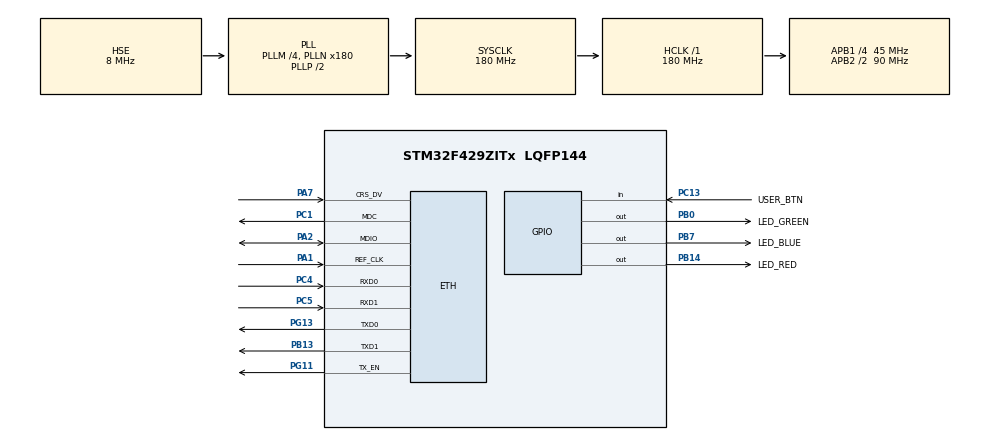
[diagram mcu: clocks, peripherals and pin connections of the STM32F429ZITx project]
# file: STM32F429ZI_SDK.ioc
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ETH.MediaInterface=HAL_ETH_RMII_MODE
ETH.PhyAddress=0
FREERTOS.HEAP_NUMBER=4
FREERTOS.Queues01=sockfd_queue,16,uint16_t,0,Dynamic,NULL,NULL
FREERTOS.Tasks01=defaultTask,0,2048,StartDefaultTask,Default,NULL,Dynamic,NULL,NULL
FREERTOS.configCHECK_FOR_STACK_OVERFLOW=2
FREERTOS.configENABLE_FPU=1
FREERTOS.configMINIMAL_STACK_SIZE=512
FREERTOS.configTOTAL_HEAP_SIZE=65536
FREERTOS.configUSE_NEWLIB_REENTRANT=1
FREERTOS.configUSE_STATS_FORMATTING_FUNCTIONS=1
FREERTOS.configUSE_TRACE_FACILITY=1
LWIP.BSP.number=1
LWIP.DEFAULT_THREAD_STACKSIZE=4096
LWIP.LWIP_DNS=1
LWIP.LWIP_NETIF_LINK_CALLBACK=1
LWIP.LWIP_SO_RCVBUF=1
LWIP.TCPIP_THREAD_STACKSIZE=4096
LWIP.Version=v2.1.2_Cube
LWIP0.BSP.STBoard=false
LWIP0.BSP.api=BSP_COMPONENT_DRIVER
LWIP0.BSP.component=LAN8742
LWIP0.BSP.instance=LAN8742
LWIP0.BSP.name=Driver_PHY
LWIP0.BSP.semaphore=S_LAN8742
LWIP0.BSP.solution=LAN8742
Mcu.Family=STM32F4
Mcu.Name=STM32F429ZITx
Mcu.Package=LQFP144
NVIC.ETH_IRQn=true\:5\:0\:false\:false\:true\:true\:false\:true\:true
NVIC.PriorityGroup=NVIC_PRIORITYGROUP_4
NVIC.TIM1_UP_TIM10_IRQn=true\:15\:0\:false\:false\:true\:false\:false\:true\:true
NVIC.TimeBase=TIM1_UP_TIM10_IRQn
NVIC.TimeBaseIP=TIM1
PA1.Mode=RMII
PA1.Signal=ETH_REF_CLK
PA13.Mode=Serial_Wire
PA13.Signal=SYS_JTMS-SWDIO
PA14.Mode=Serial_Wire
PA14.Signal=SYS_JTCK-SWCLK
PA2.Mode=RMII
PA2.Signal=ETH_MDIO
PA7.Mode=RMII
PA7.Signal=ETH_CRS_DV
PB0.GPIO_Label=LED_GREEN
PB0.Signal=GPIO_Output
PB13.Mode=RMII
PB13.Signal=ETH_TXD1
PB14.GPIO_Label=LED_RED
PB14.Signal=GPIO_Output
PB7.GPIO_Label=LED_BLUE
PB7.Signal=GPIO_Output
PC1.Mode=RMII
PC1.Signal=ETH_MDC
PC13.GPIO_Label=USER_BTN
PC13.Signal=GPIO_Input
PC14/OSC32_IN.Mode=LSE-External-Oscillator
PC14/OSC32_IN.Signal=RCC_OSC32_IN
PC15/OSC32_OUT.Mode=LSE-External-Oscillator
PC15/OSC32_OUT.Signal=RCC_OSC32_OUT
PC4.Mode=RMII
PC4.Signal=ETH_RXD0
PC5.Mode=RMII
PC5.Signal=ETH_RXD1
PG11.Mode=RMII
PG11.Signal=ETH_TX_EN
PG13.Mode=RMII
PG13.Signal=ETH_TXD0
PH0/OSC_IN.Mode=HSE-External-Clock-Source
PH0/OSC_IN.Signal=RCC_OSC_IN
PH1/OSC_OUT.Mode=HSE-External-Clock-Source
PH1/OSC_OUT.Signal=RCC_OSC_OUT
ProjectManager.HeapSize=0x200
ProjectManager.StackSize=0x400
ProjectManager.TargetToolchain=STM32CubeIDE
RCC.48MHZClocksFreq_Value=45000000
RCC.AHBFreq_Value=180000000
RCC.APB1CLKDivider=RCC_HCLK_DIV4
RCC.APB1Freq_Value=45000000
RCC.APB1TimFreq_Value=90000000
RCC.APB2CLKDivider=RCC_HCLK_DIV2
RCC.APB2Freq_Value=90000000
RCC.APB2TimFreq_Value=180000000
RCC.CortexFreq_Value=180000000
RCC.HCLKFreq_Value=180000000
RCC.HSE_VALUE=8000000
RCC.HSI_VALUE=16000000
RCC.PLLM=4
RCC.PLLMUL=RCC_PLL_MUL9
RCC.PLLN=180
RCC.PLLQ=8
RCC.PLLSourceVirtual=RCC_PLLSOURCE_HSE
RCC.PRESCALERUSB=RCC_USBCLKSOURCE_PLL_DIV1_5
RCC.SYSCLKFreq_VALUE=180000000
RCC.SYSCLKSource=RCC_SYSCLKSOURCE_PLLCLK
RCC.SYSCLKSourceVirtual=RCC_SYSCLKSOURCE_PLLCLK
RCC.USBFreq_Value=48000000
RCC.VCOOutputFreq_Value=360000000
VP_FREERTOS_VS_CMSIS_V1.Mode=CMSIS_V1
VP_LWIP_VS_Enabled.Mode=Enabled
VP_RNG_VS_RNG.Mode=RNG_Activate
VP_SYS_VS_tim1.Mode=TIM1
board=NUCLEO-F429ZI

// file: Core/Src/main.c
/* USER CODE BEGIN Header */
/**
  ******************************************************************************
  * @file           : main.c
  * @brief          : Main program body
  ******************************************************************************
  * @attention
  *
  * Copyright (c) 2023 STMicroelectronics.
  * All rights reserved.
  *
  * This software is licensed under terms that can be found in the LICENSE file
  * in the root directory of this software component.
  * If no LICENSE file comes with this software, it is provided AS-IS.
  *
  ******************************************************************************
  */
/* USER CODE END Header */
#include "main.h"
#include "cmsis_os.h"
#include "lwip.h"
#include "rng.h"
#include "gpio.h"

void SystemClock_Config(void);
void MX_FREERTOS_Init(void);

int main(void)
{

  /* MCU Configuration--------------------------------------------------------*/

  /* Reset of all peripherals, Initializes the Flash interface and the Systick. */
  HAL_Init();

  /* Configure the system clock */
  SystemClock_Config();

  /* Initialize all configured peripherals */
  MX_GPIO_Init();
  MX_RNG_Init();

  /* Call init function for freertos objects (in freertos.c) */
  MX_FREERTOS_Init();

  /* Start scheduler */
  osKernelStart();

  /* We should never get here as control is now taken by the scheduler */
  /* Infinite loop */
  while (1)
  {

  }
}

void SystemClock_Config(void)
{
  RCC_OscInitTypeDef RCC_OscInitStruct = {0};
  RCC_ClkInitTypeDef RCC_ClkInitStruct = {0};

  /** Configure the main internal regulator output voltage
  */
  __HAL_RCC_PWR_CLK_ENABLE();
  __HAL_PWR_VOLTAGESCALING_CONFIG(PWR_REGULATOR_VOLTAGE_SCALE1);

  /** Initializes the RCC Oscillators according to the specified parameters
  * in the RCC_OscInitTypeDef structure.
  */
  RCC_OscInitStruct.OscillatorType = RCC_OSCILLATORTYPE_HSE;
  RCC_OscInitStruct.HSEState = RCC_HSE_BYPASS;
  RCC_OscInitStruct.PLL.PLLState = RCC_PLL_ON;
  RCC_OscInitStruct.PLL.PLLSource = RCC_PLLSOURCE_HSE;
  RCC_OscInitStruct.PLL.PLLM = 4;
  RCC_OscInitStruct.PLL.PLLN = 180;
  RCC_OscInitStruct.PLL.PLLP = RCC_PLLP_DIV2;
  RCC_OscInitStruct.PLL.PLLQ = 8;
  if (HAL_RCC_OscConfig(&RCC_OscInitStruct) != HAL_OK)
  {
    Error_Handler();
  }

  /** Activate the Over-Drive mode
  */
  if (HAL_PWREx_EnableOverDrive() != HAL_OK)
  {
    Error_Handler();
  }

  /** Initializes the CPU, AHB and APB buses clocks
  */
  RCC_ClkInitStruct.ClockType = RCC_CLOCKTYPE_HCLK|RCC_CLOCKTYPE_SYSCLK
                              |RCC_CLOCKTYPE_PCLK1|RCC_CLOCKTYPE_PCLK2;
  RCC_ClkInitStruct.SYSCLKSource = RCC_SYSCLKSOURCE_PLLCLK;
  RCC_ClkInitStruct.AHBCLKDivider = RCC_SYSCLK_DIV1;
  RCC_ClkInitStruct.APB1CLKDivider = RCC_HCLK_DIV4;
  RCC_ClkInitStruct.APB2CLKDivider = RCC_HCLK_DIV2;

  if (HAL_RCC_ClockConfig(&RCC_ClkInitStruct, FLASH_LATENCY_5) != HAL_OK)
  {
    Error_Handler();
  }
}

void HAL_TIM_PeriodElapsedCallback(TIM_HandleTypeDef *htim)
{
  if (htim->Instance == TIM1) {
    HAL_IncTick();
  }
}

void Error_Handler(void)
{
  __disable_irq();
  while (1)
  {
  }
}

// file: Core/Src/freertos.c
/* USER CODE BEGIN Header */
/**
  ******************************************************************************
  * File Name          : freertos.c
  * Description        : Code for freertos applications
  ******************************************************************************
  * @attention
  *
  * Copyright (c) 2023 STMicroelectronics.
  * All rights reserved.
  *
  * This software is licensed under terms that can be found in the LICENSE file
  * in the root directory of this software component.
  * If no LICENSE file comes with this software, it is provided AS-IS.
  *
  ******************************************************************************
  */
/* USER CODE END Header */

#include "FreeRTOS.h"
#include "task.h"
#include "main.h"
#include "cmsis_os.h"

/* USER CODE BEGIN Includes */
#include "dbg.h"
#include "lwip.h"
#include "conf_network.h"
#include "socket_client.h"
/* USER CODE END Includes */

/* USER CODE BEGIN Variables */
osThreadId lwipWriteTaskHandle;
osThreadId lwipReadTaskHandle;
/* USER CODE END Variables */
osThreadId defaultTaskHandle;
osMessageQId sockfd_queueHandle;

void StartDefaultTask(void const * argument);

extern void MX_LWIP_Init(void);
void MX_FREERTOS_Init(void); /* (MISRA C 2004 rule 8.1) */

/* GetIdleTaskMemory prototype (linked to static allocation support) */
void vApplicationGetIdleTaskMemory( StaticTask_t **ppxIdleTaskTCBBuffer, StackType_t **ppxIdleTaskStackBuffer, uint32_t *pulIdleTaskStackSize );

/* Hook prototypes */
void vApplicationStackOverflowHook(xTaskHandle xTask, signed char *pcTaskName);

/* USER CODE BEGIN 4 */
__weak void vApplicationStackOverflowHook(xTaskHandle xTask, signed char *pcTaskName)
{
   /* Run time stack overflow checking is performed if
   configCHECK_FOR_STACK_OVERFLOW is defined to 1 or 2. This hook function is
   called if a stack overflow is detected. */
}
/* USER CODE END 4 */

/* USER CODE BEGIN GET_IDLE_TASK_MEMORY */
static StaticTask_t xIdleTaskTCBBuffer;
static StackType_t xIdleStack[configMINIMAL_STACK_SIZE];

void vApplicationGetIdleTaskMemory( StaticTask_t **ppxIdleTaskTCBBuffer, StackType_t **ppxIdleTaskStackBuffer, uint32_t *pulIdleTaskStackSize )
{
  *ppxIdleTaskTCBBuffer = &xIdleTaskTCBBuffer;
  *ppxIdleTaskStackBuffer = &xIdleStack[0];
  *pulIdleTaskStackSize = configMINIMAL_STACK_SIZE;
  /* place for user code */
}
/* USER CODE END GET_IDLE_TASK_MEMORY */

void MX_FREERTOS_Init(void) {

  /* Create the queue(s) */
  /* definition and creation of sockfd_queue */
  osMessageQDef(sockfd_queue, 1, uint32_t);
  sockfd_queueHandle = osMessageCreate(osMessageQ(sockfd_queue), NULL);

  /* Create the thread(s) */
  /* definition and creation of defaultTask */
  osThreadDef(defaultTask, StartDefaultTask, osPriorityNormal, 0, 2048);
  defaultTaskHandle = osThreadCreate(osThread(defaultTask), NULL);

}

void StartDefaultTask(void const * argument)
{
  /* init code for LWIP */
  MX_LWIP_Init();
  /* USER CODE BEGIN StartDefaultTask */
  while(1)
  {
	  //Waiting for valid ip address
	  if(gnetif.ip_addr.addr == 0 || gnetif.netmask.addr == 0 || gnetif.gw.addr == 0){
		  osDelay(200);
		  continue;
	  }else{
		  DB_PRINTF("\r\nDHCP/Static IP: %s\r\n", ip4addr_ntoa(netif_ip4_addr(&gnetif)));
		  break;
	  }
  }

#ifdef USE_SOCKET
  //Create the task to write to server
  osThreadDef(lwipWriteTask, WriteLWIPClientTask, osPriorityNormal, 0, 2048);
  lwipWriteTaskHandle = osThreadCreate(osThread(lwipWriteTask), NULL);

  //Create the task to read from server
  osThreadDef(lwipReadTask, ReadLWIPClientTask, osPriorityNormal, 0, 2048);
  lwipReadTaskHandle = osThreadCreate(osThread(lwipReadTask), NULL);

#endif
  /* Infinite loop */
  for(;;)
  {
	HAL_GPIO_TogglePin(LED_GREEN_GPIO_Port, LED_GREEN_Pin);
	osDelay(500);
  }
  /* USER CODE END StartDefaultTask */
}
